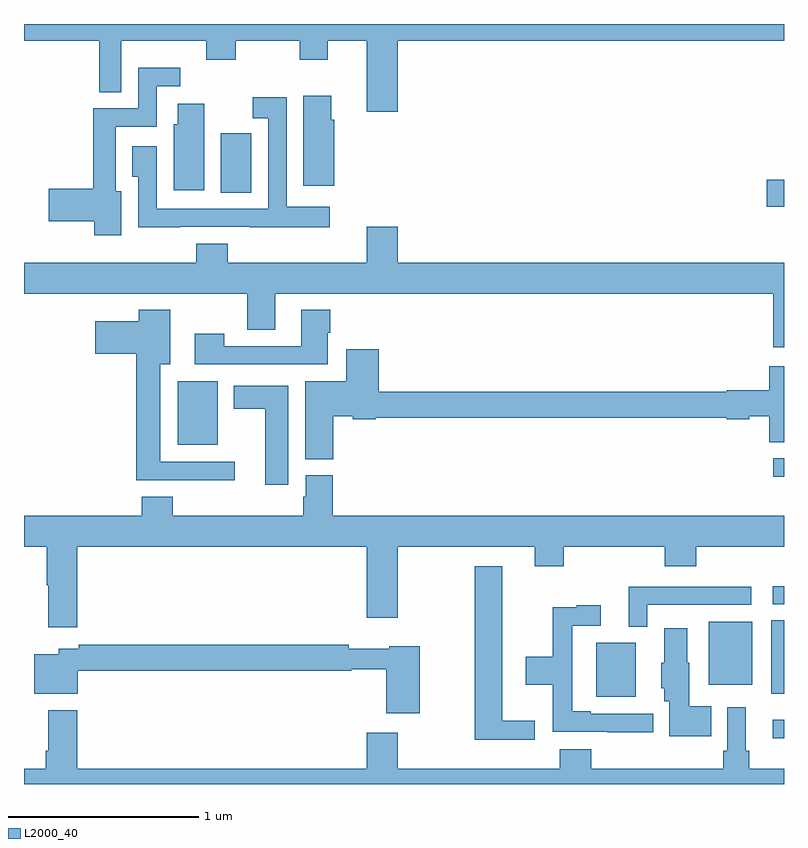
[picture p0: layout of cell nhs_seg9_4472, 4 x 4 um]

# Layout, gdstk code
import gdstk
lib = gdstk.Library(unit=1e-6, precision=1e-09)
def R(c, l, rs):  # rectangles x0, y0, x1, y1
    for r in rs: c.add(gdstk.rectangle(r[:2], r[2:], *l))
def P(c, l, *ps):  # polygons
    for p in ps: c.add(gdstk.Polygon(p, *l))
L2000_40 = (2000, 40)

nhs_seg9_4472 = lib.new_cell('nhs_seg9_4472')
R(nhs_seg9_4472, L2000_40, [(370.941,1200.74,371,1200.838), (370.013,1200.959,370.219,1201.243), (370.934,1200.974,371,1201.361), (370.604,1201.022,370.834,1201.354), (370.941,1201.446,371,1201.542), (370.944,1202.117,371,1202.214), (367.808,1202.285,368.02,1202.62), (370.908,1203.538,371,1203.68), (368.036,1203.613,368.197,1203.924)])
P(nhs_seg9_4472, L2000_40, [(368.968,1204.412),(371,1204.412),(371,1204.5),(367,1204.5),(367,1204.412),(367.395,1204.412),(367.395,1204.141),(367.513,1204.141),(367.513,1204.412),(367.96,1204.412),(367.96,1204.313),(368.115,1204.313),(368.115,1204.412),(368.452,1204.412),(368.452,1204.313),(368.599,1204.313),(368.599,1204.412),(368.804,1204.412),(368.804,1204.038),(368.968,1204.038)],
  [(367.513,1203.619),(367.483,1203.619),(367.483,1203.96),(367.698,1203.96),(367.698,1204.173),(367.822,1204.173),(367.822,1204.27),(367.602,1204.27),(367.602,1204.056),(367.365,1204.056),(367.365,1203.632),(367.131,1203.632),(367.131,1203.461),(367.37,1203.461),(367.37,1203.387),(367.513,1203.387)],
  [(368.632,1203.996),(368.617,1203.996),(368.617,1204.123),(368.471,1204.123),(368.471,1203.648),(368.632,1203.648)],
  [(367.823,1203.432),(368.189,1203.432),(368.189,1203.431),(368.608,1203.431),(368.608,1203.538),(368.382,1203.538),(368.382,1204.114),(368.205,1204.114),(368.205,1204.005),(368.286,1204.005),(368.286,1203.528),(367.698,1203.528),(367.698,1203.856),(367.571,1203.856),(367.571,1203.697),(367.602,1203.697),(367.602,1203.431),(367.823,1203.431)],
  [(367.948,1204.081),(367.808,1204.081),(367.808,1203.972),(367.787,1203.972),(367.787,1203.624),(367.948,1203.624)],
  [(371,1203.244),(368.968,1203.244),(368.968,1203.433),(368.804,1203.433),(368.804,1203.244),(368.072,1203.244),(368.072,1203.343),(367.907,1203.343),(367.907,1203.244),(367,1203.244),(367,1203.08),(368.176,1203.08),(368.176,1202.89),(368.323,1202.89),(368.323,1203.08),(370.943,1203.08),(370.943,1202.799),(371,1202.799)],
  [(368.11,1202.196),(367.717,1202.196),(367.717,1202.708),(367.771,1202.708),(367.771,1202.995),(367.604,1202.995),(367.604,1202.935),(367.374,1202.935),(367.374,1202.765),(367.592,1202.765),(367.592,1202.099),(368.11,1202.099)],
  [(368.599,1202.875),(368.612,1202.875),(368.612,1202.995),(368.459,1202.995),(368.459,1202.805),(368.055,1202.805),(368.055,1202.869),(367.899,1202.869),(367.899,1202.709),(368.599,1202.709)],
  [(368.627,1202.435),(368.73,1202.435),(368.73,1202.42),(368.85,1202.42),(368.85,1202.428),(370.698,1202.428),(370.698,1202.42),(370.818,1202.42),(370.818,1202.435),(370.922,1202.435),(370.922,1202.299),(371,1202.299),(371,1202.698),(370.922,1202.698),(370.922,1202.572),(370.698,1202.572),(370.698,1202.564),(368.867,1202.564),(368.867,1202.788),(368.696,1202.788),(368.696,1202.62),(368.48,1202.62),(368.48,1202.209),(368.627,1202.209)],
  [(368.392,1202.596),(368.105,1202.596),(368.105,1202.474),(368.27,1202.474),(368.27,1202.076),(368.392,1202.076)],
  [(367,1201.748),(367.12,1201.748),(367.12,1201.546),(367.127,1201.546),(367.127,1201.326),(367.28,1201.326),(367.28,1201.748),(368.804,1201.748),(368.804,1201.374),(368.968,1201.374),(368.968,1201.748),(369.689,1201.748),(369.689,1201.646),(369.842,1201.646),(369.842,1201.748),(370.373,1201.748),(370.373,1201.646),(370.538,1201.646),(370.538,1201.748),(371,1201.748),(371,1201.912),(368.624,1201.912),(368.624,1202.124),(368.483,1202.124),(368.483,1202.013),(368.471,1202.013),(368.471,1201.912),(367.784,1201.912),(367.784,1202.011),(367.619,1202.011),(367.619,1201.912),(367,1201.912)],
  [(369.688,1200.833),(369.517,1200.833),(369.517,1201.645),(369.373,1201.645),(369.373,1200.734),(369.688,1200.734)],
  [(370.281,1201.443),(370.828,1201.443),(370.828,1201.539),(370.184,1201.539),(370.184,1201.328),(370.281,1201.328)],
  [(370.312,1200.87),(369.982,1200.87),(369.982,1200.883),(369.885,1200.883),(369.885,1201.332),(370.036,1201.332),(370.036,1201.441),(369.908,1201.441),(369.908,1201.43),(369.784,1201.43),(369.784,1201.17),(369.642,1201.17),(369.642,1201.022),(369.784,1201.022),(369.784,1200.774),(370.069,1200.774),(370.069,1200.773),(370.312,1200.773)],
  [(370.616,1200.91),(370.501,1200.91),(370.501,1201.137),(370.492,1201.137),(370.492,1201.321),(370.37,1201.321),(370.37,1201.137),(370.355,1201.137),(370.355,1201.005),(370.37,1201.005),(370.37,1200.936),(370.397,1200.936),(370.397,1200.752),(370.616,1200.752)],
  [(369.084,1201.225),(368.922,1201.225),(368.922,1201.213),(368.708,1201.213),(368.708,1201.232),(367.288,1201.232),(367.288,1201.212),(367.184,1201.212),(367.184,1201.183),(367.055,1201.183),(367.055,1200.974),(367.282,1200.974),(367.282,1201.096),(368.722,1201.096),(368.722,1201.104),(368.906,1201.104),(368.906,1200.873),(369.084,1200.873)],
  [(371,1200.58),(370.817,1200.58),(370.817,1200.676),(370.798,1200.676),(370.798,1200.904),(370.701,1200.904),(370.701,1200.676),(370.681,1200.676),(370.681,1200.58),(369.986,1200.58),(369.986,1200.682),(369.821,1200.682),(369.821,1200.58),(368.968,1200.58),(368.968,1200.769),(368.804,1200.769),(368.804,1200.58),(367.28,1200.58),(367.28,1200.889),(367.127,1200.889),(367.127,1200.676),(367.115,1200.676),(367.115,1200.58),(367,1200.58),(367,1200.5),(371,1200.5)])

lib.write_gds('nhs_seg9_4472.gds')
